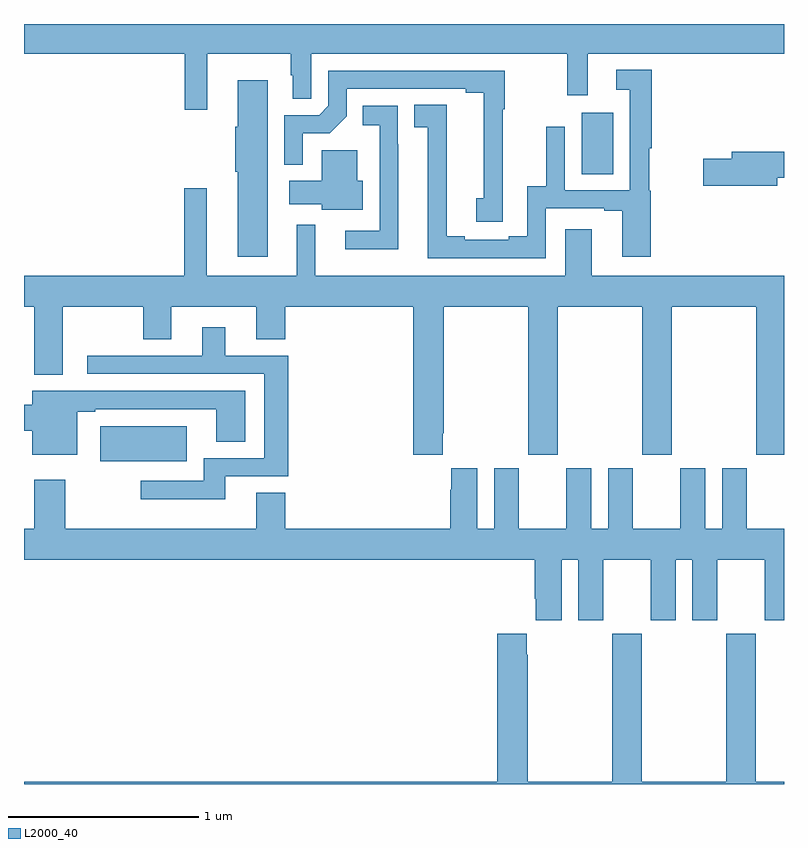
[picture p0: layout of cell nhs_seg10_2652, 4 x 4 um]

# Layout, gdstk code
import gdstk
lib = gdstk.Library(unit=1e-6, precision=1e-09)
def R(c, l, rs):  # rectangles x0, y0, x1, y1
    for r in rs: c.add(gdstk.rectangle(r[:2], r[2:], *l))
def P(c, l, *ps):  # polygons
    for p in ps: c.add(gdstk.Polygon(p, *l))
L2000_40 = (2000, 40)

nhs_seg10_2652 = lib.new_cell('nhs_seg10_2652')
R(nhs_seg10_2652, L2000_40, [(257.936,1271.71,258.1,1272.034)])
P(nhs_seg10_2652, L2000_40, [(255.964,1272.344),(256.404,1272.344),(256.404,1272.231),(256.415,1272.231),(256.415,1272.106),(256.512,1272.106),(256.512,1272.344),(257.859,1272.344),(257.859,1272.126),(257.968,1272.126),(257.968,1272.344),(259,1272.344),(259,1272.5),(255,1272.5),(255,1272.344),(255.847,1272.344),(255.847,1272.048),(255.964,1272.048)],
  [(257.745,1271.529),(258.053,1271.529),(258.053,1271.517),(258.149,1271.517),(258.149,1271.274),(258.299,1271.274),(258.299,1271.622),(258.29,1271.622),(258.29,1271.846),(258.305,1271.846),(258.305,1272.259),(258.117,1272.259),(258.117,1272.153),(258.189,1272.153),(258.189,1271.625),(257.847,1271.625),(257.847,1271.959),(257.749,1271.959),(257.749,1271.645),(257.649,1271.645),(257.649,1271.384),(257.552,1271.384),(257.552,1271.364),(257.32,1271.364),(257.32,1271.384),(257.224,1271.384),(257.224,1271.665),(257.225,1271.665),(257.225,1272.074),(257.053,1272.074),(257.053,1271.956),(257.126,1271.956),(257.126,1271.268),(257.745,1271.268)],
  [(257.521,1272.052),(257.531,1272.052),(257.531,1272.255),(256.602,1272.255),(256.602,1272.069),(256.554,1272.021),(256.371,1272.021),(256.371,1271.759),(256.467,1271.759),(256.467,1271.925),(256.608,1271.925),(256.698,1272.015),(256.698,1272.159),(257.324,1272.159),(257.324,1272.139),(257.42,1272.139),(257.42,1271.584),(257.381,1271.584),(257.381,1271.46),(257.521,1271.46)],
  [(256.282,1272.205),(256.124,1272.205),(256.124,1271.96),(256.112,1271.96),(256.112,1271.722),(256.124,1271.722),(256.124,1271.274),(256.282,1271.274)],
  [(256.969,1271.866),(256.968,1271.866),(256.968,1272.069),(256.783,1272.069),(256.783,1271.968),(256.872,1271.968),(256.872,1271.412),(256.692,1271.412),(256.692,1271.315),(256.969,1271.315)],
  [(256.783,1271.674),(256.753,1271.674),(256.753,1271.836),(256.568,1271.836),(256.568,1271.674),(256.395,1271.674),(256.395,1271.552),(256.568,1271.552),(256.568,1271.522),(256.783,1271.522)],
  [(258.964,1271.692),(259,1271.692),(259,1271.828),(258.725,1271.828),(258.725,1271.792),(258.576,1271.792),(258.576,1271.65),(258.964,1271.65)],
  [(256.534,1271.443),(256.436,1271.443),(256.436,1271.176),(255.961,1271.176),(255.961,1271.635),(255.844,1271.635),(255.844,1271.176),(255,1271.176),(255,1271.012),(255.053,1271.012),(255.053,1270.655),(255.205,1270.655),(255.205,1271.012),(255.628,1271.012),(255.628,1270.84),(255.775,1270.84),(255.775,1271.012),(256.223,1271.012),(256.223,1270.84),(256.376,1270.84),(256.376,1271.012),(257.048,1271.012),(257.048,1270.233),(257.203,1270.233),(257.203,1270.345),(257.208,1270.345),(257.208,1271.012),(257.653,1271.012),(257.653,1270.233),(257.808,1270.233),(257.808,1271.012),(258.253,1271.012),(258.253,1270.233),(258.408,1270.233),(258.408,1271.012),(258.853,1271.012),(258.853,1270.233),(259,1270.233),(259,1271.176),(257.989,1271.176),(257.989,1271.419),(257.849,1271.419),(257.849,1271.176),(256.534,1271.176)],
  [(256.06,1270.119),(256.391,1270.119),(256.391,1270.755),(256.06,1270.755),(256.06,1270.903),(255.938,1270.903),(255.938,1270.755),(255.333,1270.755),(255.333,1270.659),(256.265,1270.659),(256.265,1270.215),(255.947,1270.215),(255.947,1270.095),(255.615,1270.095),(255.615,1269.998),(256.06,1269.998)],
  [(255.28,1270.46),(255.376,1270.46),(255.376,1270.473),(256.013,1270.473),(256.013,1270.302),(256.165,1270.302),(256.165,1270.569),(255.044,1270.569),(255.044,1270.496),(255,1270.496),(255,1270.36),(255.044,1270.36),(255.044,1270.232),(255.28,1270.232)],
  [(255.856,1270.384),(255.505,1270.384),(255.505,1270.383),(255.402,1270.383),(255.402,1270.199),(255.856,1270.199)],
  [(257.249,1270.162),(257.249,1270.049),(257.243,1270.049),(257.243,1269.844),(256.376,1269.844),(256.376,1270.034),(256.223,1270.034),(256.223,1269.844),(255.218,1269.844),(255.218,1270.102),(255.053,1270.102),(255.053,1269.844),(255,1269.844),(255,1269.68),(257.687,1269.68),(257.687,1269.475),(257.693,1269.475),(257.693,1269.363),(257.83,1269.363),(257.83,1269.68),(257.918,1269.68),(257.918,1269.363),(258.049,1269.363),(258.049,1269.68),(258.299,1269.68),(258.299,1269.363),(258.43,1269.363),(258.43,1269.68),(258.518,1269.68),(258.518,1269.363),(258.649,1269.363),(258.649,1269.68),(258.899,1269.68),(258.899,1269.363),(259,1269.363),(259,1269.844),(258.805,1269.844),(258.805,1270.162),(258.674,1270.162),(258.674,1269.844),(258.586,1269.844),(258.586,1270.162),(258.455,1270.162),(258.455,1269.844),(258.205,1269.844),(258.205,1270.162),(258.074,1270.162),(258.074,1269.844),(257.986,1269.844),(257.986,1270.162),(257.855,1270.162),(257.855,1269.844),(257.605,1269.844),(257.605,1270.162),(257.474,1270.162),(257.474,1269.844),(257.386,1269.844),(257.386,1270.162)],
  [(259,1268.512),(258.852,1268.512),(258.852,1269.292),(258.697,1269.292),(258.697,1268.512),(258.252,1268.512),(258.252,1269.292),(258.097,1269.292),(258.097,1268.512),(257.652,1268.512),(257.652,1269.179),(257.647,1269.179),(257.647,1269.292),(257.492,1269.292),(257.492,1268.512),(255,1268.512),(255,1268.5),(259,1268.5)])

lib.write_gds('nhs_seg10_2652.gds')
